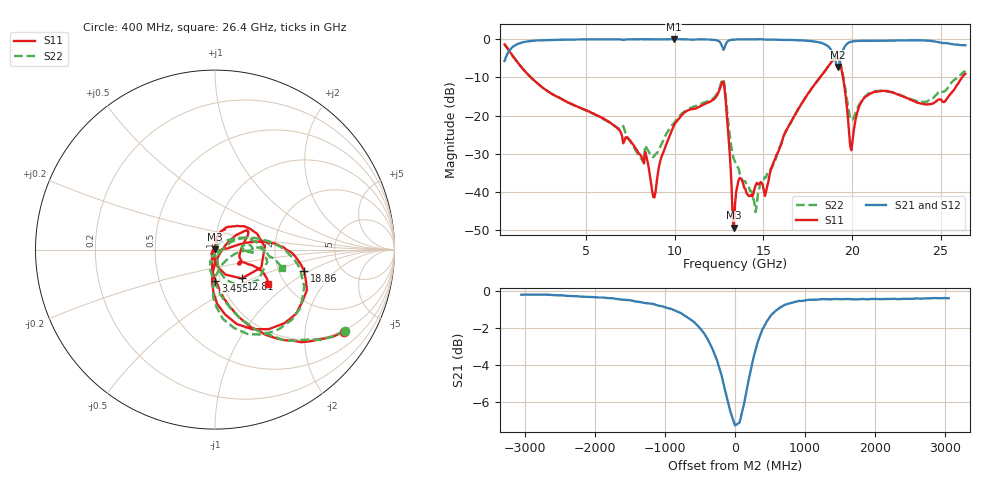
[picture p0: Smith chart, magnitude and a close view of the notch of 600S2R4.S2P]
!  American Technical Ceramics  Date:  10/26/00
!  One Norden Lane
!  Huntington Station,  NY.  11746-2102
!  Tel:  (631) 622-4700  Fax:  (631) 622-4748
!  Part Number  600S2R4BW  Mounting Orientation: Horizontal
!  Description: Ultra Low ESR Microwave capacitors
!  Application: Coupling, Bypass, Tuning, DC Block
!  Filters, Matching
# GHZ S DB R 50
! Freq  |S11|  S11 Ph  |S21|  S21 Ph  |S12|  S12 Ph  |S22|  S22 Ph
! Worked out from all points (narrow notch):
!   401 points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, 400 MHz to 26.4 GHz, reference 50 ohm
!   highest |S21| = 0.01 dB at 9.955 GHz (marker M1); lowest = -7.3 dB at 19.18 GHz (marker M2)
!   notch at M2: 7.0 dB deep, 512 MHz wide at half that depth
!   lowest |S11| = -49.3 dB at 13.34 GHz (marker M3), VSWR 1.01, Z = 49.7 + j0.228 ohm
!   |S11| at or under -10 dB: 1.876 GHz to 18.2 GHz (16.32 GHz wide, 163 % of centre); 19.49 GHz to 26.21 GHz (6.721 GHz wide, 29.4 % of centre)
!   |S22| runs from -45.3 to -1.4 dB; largest |S21 - S12| = 0.0099
!   S11 on the Smith chart (normalised r, x): 400 MHz: 0.95, -3.19; 3.455 GHz: 0.95, -0.34; 12.81 GHz: 1.27, -0.43; 18.86 GHz: 2.76, -0.89; 26.4 GHz: 1.64, -0.71
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0.4  -1.38 -32.4  -5.74 57.4  -5.74 57.3  -1.36 -32.1
1.375  -7.48 -68.6  -0.89 20.5  -0.87 20.6  -7.48 -68.8
3.455  -15.26 -89.3  -0.17 -2.2  -0.17 -2.3  -15.24 -92.0
4.755  -18.10 -95.5  -0.09 -10.0  -0.10 -10.1  -18.20 -101.2
7.55  -26.97 -98.0  -0.05 -23.4  -0.05 -23.5  -27.21 -114.1
8.785  -41.27 164.4  -0.07 -29.3  -0.06 -29.3  -30.91 -41.2
9.11  -33.38 91.0  -0.08 -30.6  -0.07 -30.6  -28.83 -7.1
9.955  -22.54 79.3  0.01 -34.6  0.01 -34.7  -22.01 21.6
12.815  -13.18 -47.2  -2.24 -39.1  -2.21 -39.6  -12.08 -55.9
13.335  -49.34 137.7  -0.12 -45.8  -0.13 -45.8  -31.37 -45.9
13.4  -43.33 96.0  -0.11 -46.4  -0.12 -46.4  -32.03 -37.0
13.66  -36.34 74.1  -0.08 -48.5  -0.08 -48.5  -35.05 -17.4
14.57  -38.18 -6.1  -0.04 -53.7  -0.06 -53.9  -45.27 63.8
15.155  -39.88 -37.1  -0.11 -57.2  -0.11 -57.2  -36.16 77.3
17.755  -12.70 11.1  -0.57 -73.2  -0.55 -73.3  -12.74 16.4
18.86  -5.83 -13.5  -3.12 -88.8  -3.12 -88.8  -5.83 -18.1
19.185  -4.97 -46.5  -7.29 -71.6  -7.22 -71.7  -4.90 -51.2
19.965  -29.08 -22.1  -0.68 -61.0  -0.66 -61.0  -21.23 -52.2
20.615  -15.80 33.6  -0.44 -71.0  -0.45 -70.9  -15.64 -2.1
22.11  -13.74 25.5  -0.40 -82.5  -0.40 -82.5  -13.81 -3.9
24.45  -16.94 -15.9  -0.46 -101.2  -0.49 -101.2  -15.87 8.3
26.4  -9.10 -32.8  -1.59 -115.6  -1.58 -115.4  -8.29 -15.8
